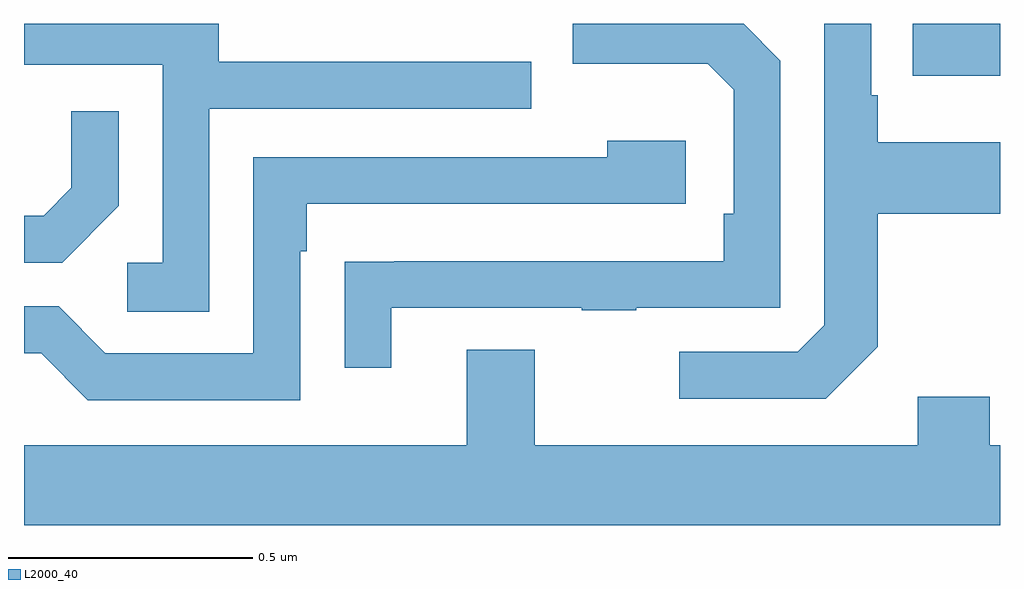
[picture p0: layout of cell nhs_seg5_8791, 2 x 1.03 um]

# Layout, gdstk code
import gdstk
lib = gdstk.Library(unit=1e-6, precision=1e-09)
def R(c, l, rs):  # rectangles x0, y0, x1, y1
    for r in rs: c.add(gdstk.rectangle(r[:2], r[2:], *l))
def P(c, l, *ps):  # polygons
    for p in ps: c.add(gdstk.Polygon(p, *l))
L2000_40 = (2000, 40)

nhs_seg5_8791 = lib.new_cell('nhs_seg5_8791')
R(nhs_seg5_8791, L2000_40, [(227.821,845.693,228,845.799)])
P(nhs_seg5_8791, L2000_40, [(226.38,845.625),(227.039,845.625),(227.039,845.721),(226.399,845.721),(226.399,845.799),(226,845.799),(226,845.715),(226.284,845.715),(226.284,845.31),(226.212,845.31),(226.212,845.209),(226.38,845.209)],
  [(227.749,845.137),(227.749,845.41),(228,845.41),(228,845.557),(227.749,845.557),(227.749,845.653),(227.736,845.653),(227.736,845.799),(227.64,845.799),(227.64,845.181),(227.586,845.127),(227.343,845.127),(227.343,845.031),(227.643,845.031)],
  [(226.753,845.217),(227.143,845.217),(227.143,845.212),(227.255,845.212),(227.255,845.217),(227.55,845.217),(227.55,845.724),(227.475,845.799),(227.124,845.799),(227.124,845.717),(227.401,845.717),(227.454,845.664),(227.454,845.41),(227.434,845.41),(227.434,845.313),(226.759,845.313),(226.759,845.312),(226.657,845.312),(226.657,845.094),(226.753,845.094)],
  [(226.194,845.426),(226.194,845.62),(226.097,845.62),(226.097,845.463),(226.04,845.406),(226,845.406),(226,845.31),(226.078,845.31)],
  [(226.566,845.333),(226.579,845.333),(226.579,845.43),(227.356,845.43),(227.356,845.56),(227.195,845.56),(227.195,845.526),(226.47,845.526),(226.47,845.124),(226.167,845.124),(226.071,845.22),(226,845.22),(226,845.124),(226.035,845.124),(226.131,845.028),(226.566,845.028)],
  [(228,844.936),(227.979,844.936),(227.979,845.035),(227.831,845.035),(227.831,844.936),(227.047,844.936),(227.047,845.131),(226.907,845.131),(226.907,844.936),(226,844.936),(226,844.772),(228,844.772)])

lib.write_gds('nhs_seg5_8791.gds')
